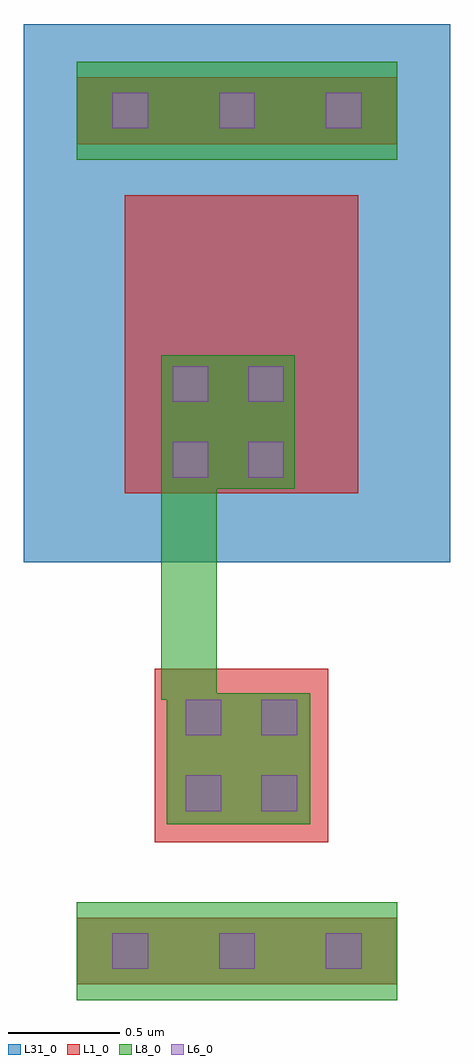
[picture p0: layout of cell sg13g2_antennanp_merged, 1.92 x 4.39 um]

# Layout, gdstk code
import gdstk
lib = gdstk.Library(unit=1e-6, precision=1e-09)
def R(c, l, rs):  # rectangles x0, y0, x1, y1
    for r in rs: c.add(gdstk.rectangle(r[:2], r[2:], *l))
def A(c, l, x, y, w, h, nx, ny, dx, dy):  # array of equal rectangles
    R(c, l, [(x+i*dx, y+j*dy, x+i*dx+w, y+j*dy+h) for i in range(nx) for j in range(ny)])
def P(c, l, *ps):  # polygons
    for p in ps: c.add(gdstk.Polygon(p, *l))
L1_0 = (1, 0)
L6_0 = (6, 0)
L8_0 = (8, 0)
L31_0 = (31, 0)

sg13g2_antennanp_merged = lib.new_cell('sg13g2_antennanp_merged')
R(sg13g2_antennanp_merged, L1_0, [(0,-0.15,1.44,0.15), (0.35,0.49,1.13,1.27), (0.215,2.06,1.265,3.4), (0,3.63,1.44,3.93)])
A(sg13g2_antennanp_merged, L6_0, 0.16, -0.08, 0.16, 0.16, 3, 2, 0.48, 3.78)
R(sg13g2_antennanp_merged, L6_0, [(0.49,0.63,0.65,0.79), (0.83,0.63,0.99,0.79), (0.49,0.97,0.65,1.13), (0.83,0.97,0.99,1.13), (0.43,2.13,0.59,2.29), (0.77,2.13,0.93,2.29), (0.43,2.47,0.59,2.63), (0.77,2.47,0.93,2.63)])
R(sg13g2_antennanp_merged, L8_0, [(0,-0.22,1.44,0.22), (0,3.56,1.44,4)])
P(sg13g2_antennanp_merged, L8_0, [(0.405,0.57),(0.405,1.13),(0.38,1.13),(0.38,2.68),(0.98,2.68),(0.98,2.08),(0.63,2.08),(0.63,1.16),(1.05,1.16),(1.05,0.57)])
R(sg13g2_antennanp_merged, L31_0, [(-0.24,1.75,1.68,4.17)])

lib.write_gds('sg13g2_antennanp_merged.gds')
